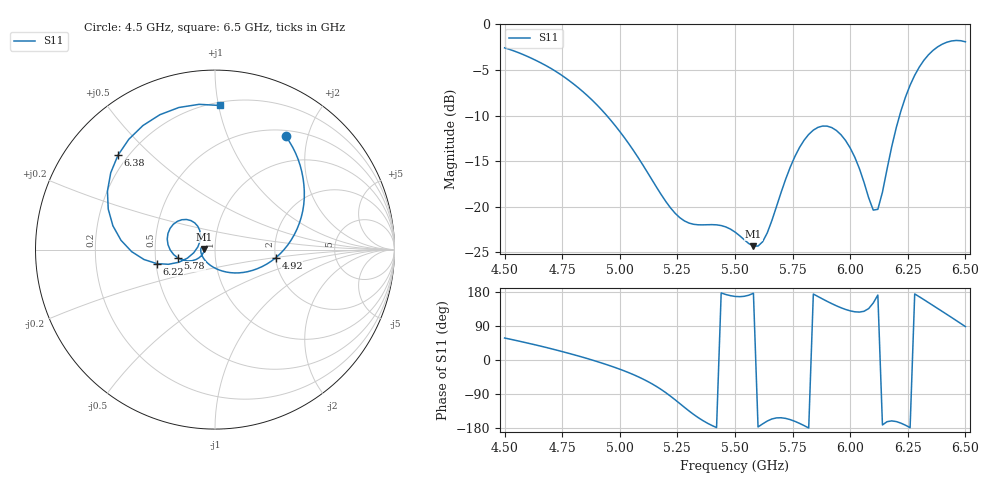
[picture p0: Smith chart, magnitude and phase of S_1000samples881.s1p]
! TOUCHSTONE file generated by CST MICROWAVE STUDIO
! Date and time: Sat Oct 29 16:40:29 2022
! Project name: L.cst
! Parameters = {Di=1.27; Epsilon_r=1.56; InnerDiameter=1.27; Length=2; Lf=10; Lg=60; OuterConductorThickness=0.2921; OuterDiameter=3.6; Wf=3; Wp=41.2; de=1.5; df=6.8; g=0.8; gx=1.63799; gy=2.1882; h=2.34; hf=1.524; px=12.7018; py=8.16349; w=9.7; wx=11.0638; wy=5.97529}
! Header version: 2018
! Port assignment regex: !\s*Touchstone port\s*([0-9]+)\s*=\s*(CST MWS port|CST DS port)\s*([0-9]+|Zmin|Zmax)\s*\(\"(.*)\"\)(\s*mode\s*([0-9]+))?.*
! Touchstone port assignment:
! Touchstone port 1 = CST MWS port 1 ("")
# GHz S DB R 50
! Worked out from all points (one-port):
!   101 points, 4.5 GHz to 6.5 GHz, reference 50 ohm
!   lowest |S11| = -24.3 dB at 5.58 GHz (marker M1), VSWR 1.13, Z = 44.3 + j0.363 ohm
!   |S11| at or under -10 dB: 4.944 GHz to 6.215 GHz (1.271 GHz wide, 22.8 % of centre)
!   S11 on the Smith chart (normalised r, x): 4.5 GHz: 0.58, +1.65; 4.92 GHz: 2.01, -0.21; 5.78 GHz: 0.66, -0.06; 6.22 GHz: 0.50, -0.09; 6.38 GHz: 0.16, +0.40; 6.5 GHz: 0.22, +1.01
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4.5  -2.56 58.0
4.64  -4.00 39.0
4.76  -5.79 20.6
4.92  -9.34 -7.7
5  -11.75 -24.3
5.12  -16.23 -56.3
5.26  -21.19 -114.7
5.38  -21.97 -166.6
5.5  -22.77 167.8
5.58  -24.32 176.1
5.62  -23.84 -168.6
5.64  -22.87 -161.1
5.76  -14.48 -161.9
5.78  -13.50 -167.2
5.82  -12.06 -179.4
5.88  -11.15 161.1
5.94  -11.63 143.1
6  -13.55 129.7
6.1  -20.37 150.4
6.12  -20.28 171.4
6.16  -15.86 -162.8
6.22  -9.50 -166.6
6.26  -6.66 -178.6
6.32  -3.93 159.2
6.38  -2.45 135.8
6.44  -1.81 112.2
6.48  -1.79 96.2
6.5  -1.90 88.2
